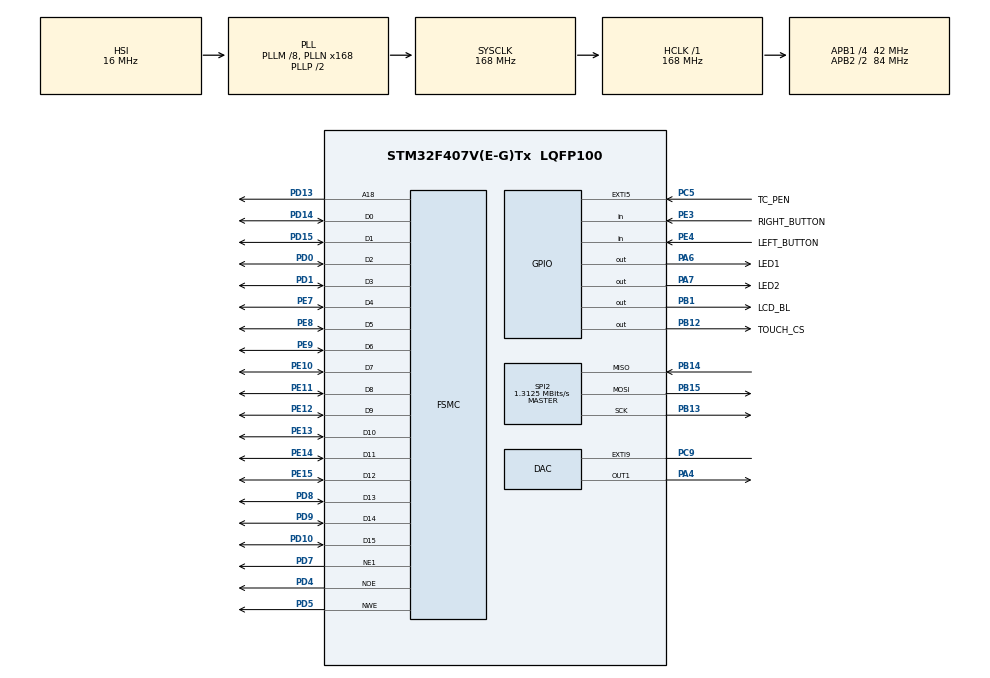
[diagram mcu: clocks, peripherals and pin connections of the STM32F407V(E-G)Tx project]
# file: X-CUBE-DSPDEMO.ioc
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ADC1.Channel-0\#ChannelRegularConversion=ADC_CHANNEL_4
ADC1.DMAContinuousRequests=ENABLE
ADC1.ExternalTrigConv=ADC_EXTERNALTRIGCONV_T2_TRGO
ADC1.ExternalTrigConvEdge=ADC_EXTERNALTRIGCONVEDGE_FALLING
ADC1.NbrOfConversion=1
ADC1.NbrOfConversionFlag=1
ADC1.Rank-0\#ChannelRegularConversion=1
ADC1.SamplingTime-0\#ChannelRegularConversion=ADC_SAMPLETIME_56CYCLES
ADC1.master=1
DAC.DAC_Trigger=DAC_TRIGGER_T6_TRGO
Dma.ADC1.0.Direction=DMA_PERIPH_TO_MEMORY
Dma.ADC1.0.FIFOMode=DMA_FIFOMODE_DISABLE
Dma.ADC1.0.Instance=DMA2_Stream0
Dma.ADC1.0.MemDataAlignment=DMA_MDATAALIGN_HALFWORD
Dma.ADC1.0.MemInc=DMA_MINC_ENABLE
Dma.ADC1.0.Mode=DMA_CIRCULAR
Dma.ADC1.0.PeriphDataAlignment=DMA_PDATAALIGN_HALFWORD
Dma.ADC1.0.PeriphInc=DMA_PINC_DISABLE
Dma.ADC1.0.Priority=DMA_PRIORITY_VERY_HIGH
Dma.DAC1.1.Direction=DMA_MEMORY_TO_PERIPH
Dma.DAC1.1.FIFOMode=DMA_FIFOMODE_DISABLE
Dma.DAC1.1.Instance=DMA1_Stream5
Dma.DAC1.1.MemDataAlignment=DMA_MDATAALIGN_HALFWORD
Dma.DAC1.1.MemInc=DMA_MINC_ENABLE
Dma.DAC1.1.Mode=DMA_CIRCULAR
Dma.DAC1.1.PeriphDataAlignment=DMA_PDATAALIGN_HALFWORD
Dma.DAC1.1.PeriphInc=DMA_PINC_DISABLE
Dma.DAC1.1.Priority=DMA_PRIORITY_VERY_HIGH
Dma.Request0=ADC1
Dma.Request1=DAC1
FSMC.AddressSetupTime1=6
FSMC.BusTurnAroundDuration1=0
FSMC.DataSetupTime1=6
Mcu.Family=STM32F4
Mcu.Name=STM32F407V(E-G)Tx
Mcu.Package=LQFP100
NVIC.DMA1_Stream5_IRQn=true\:0\:0\:false\:false\:true\:false\:true\:true
NVIC.DMA2_Stream0_IRQn=true\:0\:0\:false\:false\:true\:false\:true\:true
NVIC.PriorityGroup=NVIC_PRIORITYGROUP_4
PA13.Mode=Serial_Wire
PA13.Signal=SYS_JTMS-SWDIO
PA14.Mode=Serial_Wire
PA14.Signal=SYS_JTCK-SWCLK
PA4.Signal=SharedAnalog_PA4
PA6.GPIO_Label=LED1
PA6.GPIO_Speed=GPIO_SPEED_FREQ_LOW
PA6.PinState=GPIO_PIN_SET
PA6.Signal=GPIO_Output
PA7.GPIO_Label=LED2
PA7.PinState=GPIO_PIN_SET
PA7.Signal=GPIO_Output
PB1.GPIO_Label=LCD_BL
PB1.Signal=GPIO_Output
PB12.GPIO_Label=TOUCH_CS
PB12.PinState=GPIO_PIN_SET
PB12.Signal=GPIO_Output
PB13.Mode=Full_Duplex_Master
PB13.Signal=SPI2_SCK
PB14.Mode=Full_Duplex_Master
PB14.Signal=SPI2_MISO
PB15.Mode=Full_Duplex_Master
PB15.Signal=SPI2_MOSI
PC14-OSC32_IN.Mode=LSE-External-Oscillator
PC14-OSC32_IN.Signal=RCC_OSC32_IN
PC15-OSC32_OUT.Mode=LSE-External-Oscillator
PC15-OSC32_OUT.Signal=RCC_OSC32_OUT
PC5.GPIO_Label=TC_PEN
PC5.Signal=GPXTI5
PC9.Signal=GPXTI9
PD0.Mode=16b-d1
PD0.Signal=FSMC_D2
PD1.Mode=16b-d1
PD1.Signal=FSMC_D3
PD10.Mode=16b-d1
PD10.Signal=FSMC_D15
PD13.Mode=A18_1
PD13.Signal=FSMC_A18
PD14.Mode=16b-d1
PD14.Signal=FSMC_D0
PD15.Mode=16b-d1
PD15.Signal=FSMC_D1
PD4.Mode=Lcd1
PD4.Signal=FSMC_NOE
PD5.Mode=Lcd1
PD5.Signal=FSMC_NWE
PD7.Mode=NorPsramChipSelect1_1
PD7.Signal=FSMC_NE1
PD8.Mode=16b-d1
PD8.Signal=FSMC_D13
PD9.Mode=16b-d1
PD9.Signal=FSMC_D14
PE10.Mode=16b-d1
PE10.Signal=FSMC_D7
PE11.Mode=16b-d1
PE11.Signal=FSMC_D8
PE12.Mode=16b-d1
PE12.Signal=FSMC_D9
PE13.Mode=16b-d1
PE13.Signal=FSMC_D10
PE14.Mode=16b-d1
PE14.Signal=FSMC_D11
PE15.Mode=16b-d1
PE15.Signal=FSMC_D12
PE3.GPIO_Label=RIGHT_BUTTON
PE3.GPIO_PuPd=GPIO_PULLUP
PE3.Signal=GPIO_Input
PE4.GPIO_Label=LEFT_BUTTON
PE4.GPIO_PuPd=GPIO_PULLUP
PE4.Signal=GPIO_Input
PE7.Mode=16b-d1
PE7.Signal=FSMC_D4
PE8.Mode=16b-d1
PE8.Signal=FSMC_D5
PE9.Mode=16b-d1
PE9.Signal=FSMC_D6
PH0-OSC_IN.Mode=HSE-External-Oscillator
PH0-OSC_IN.Signal=RCC_OSC_IN
PH1-OSC_OUT.Mode=HSE-External-Oscillator
PH1-OSC_OUT.Signal=RCC_OSC_OUT
ProjectManager.HeapSize=0x200
ProjectManager.StackSize=0x400
ProjectManager.TargetToolchain=Makefile
RCC.48MHZClocksFreq_Value=48000000
RCC.AHBFreq_Value=168000000
RCC.APB1CLKDivider=RCC_HCLK_DIV4
RCC.APB1Freq_Value=42000000
RCC.APB1TimFreq_Value=84000000
RCC.APB2CLKDivider=RCC_HCLK_DIV2
RCC.APB2Freq_Value=84000000
RCC.APB2TimFreq_Value=168000000
RCC.CortexFreq_Value=168000000
RCC.HCLKFreq_Value=168000000
RCC.HSE_VALUE=8000000
RCC.HSI_VALUE=16000000
RCC.PLLM=8
RCC.PLLN=168
RCC.PLLQ=7
RCC.RCC_RTC_Clock_Source=RCC_RTCCLKSOURCE_LSE
RCC.RCC_RTC_Clock_SourceVirtual=RCC_RTCCLKSOURCE_LSE
RCC.SYSCLKFreq_VALUE=168000000
RCC.SYSCLKSource=RCC_SYSCLKSOURCE_PLLCLK
RCC.VCOOutputFreq_Value=336000000
SH.SharedAnalog_PA4.0=DAC_OUT1,DAC_OUT1
SH.SharedAnalog_PA4.1=ADC1_IN4,IN4
SPI2.BaudRatePrescaler=SPI_BAUDRATEPRESCALER_32
SPI2.CalculateBaudRate=1.3125 MBits/s
SPI2.Direction=SPI_DIRECTION_2LINES
SPI2.Mode=SPI_MODE_MASTER
SPI2.VirtualType=VM_MASTER
TIM2.Channel-Output\ Compare2\ No\ Output=TIM_CHANNEL_2
TIM2.Period=1000 - 1
TIM2.Prescaler=0
TIM2.TIM_MasterOutputTrigger=TIM_TRGO_UPDATE
TIM6.Period=DAC_period
TIM6.TIM_MasterOutputTrigger=TIM_TRGO_UPDATE
VP_CRC_VS_CRC.Mode=CRC_Activate
VP_RNG_VS_RNG.Mode=RNG_Activate
VP_RTC_VS_RTC_Activate.Mode=RTC_Enabled
VP_TIM2_VS_ClockSourceINT.Mode=Internal
VP_TIM2_VS_no_output2.Mode=Output Compare2 No Output
VP_TIM6_VS_ClockSourceINT.Mode=Enable_Timer
board=custom

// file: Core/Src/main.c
/* USER CODE BEGIN Header */
/**
  ******************************************************************************
  * @file           : main.c
  * @brief          : Main program body
  ******************************************************************************
  * @attention
  *
  * Copyright (c) 2022 STMicroelectronics.
  * All rights reserved.
  *
  * This software is licensed under terms that can be found in the LICENSE file
  * in the root directory of this software component.
  * If no LICENSE file comes with this software, it is provided AS-IS.
  *
  ******************************************************************************
  */
/* USER CODE END Header */
#include "main.h"

/* USER CODE BEGIN Includes */
#include "ili9341.h"
#include "GUI.h"
#include "DIALOG.h"
#include "WM.h"
#include "calibration.h"
#include "global.h"
#include "touch.h"
#include "stdio.h"
/* USER CODE END Includes */

ADC_HandleTypeDef hadc1;
DMA_HandleTypeDef hdma_adc1;

CRC_HandleTypeDef hcrc;

DAC_HandleTypeDef hdac;
DMA_HandleTypeDef hdma_dac1;

RNG_HandleTypeDef hrng;

RTC_HandleTypeDef hrtc;

SPI_HandleTypeDef hspi2;

TIM_HandleTypeDef htim2;
TIM_HandleTypeDef htim6;

SRAM_HandleTypeDef hsram1;

/* USER CODE BEGIN PV */

static uint16_t DAC_period;

/* USER CODE END PV */

void SystemClock_Config(void);
static void MX_GPIO_Init(void);
static void MX_DMA_Init(void);
static void MX_FSMC_Init(void);
static void MX_SPI2_Init(void);
static void MX_RNG_Init(void);
static void MX_RTC_Init(void);
static void MX_CRC_Init(void);
static void MX_ADC1_Init(void);
static void MX_DAC_Init(void);
static void MX_TIM2_Init(void);
static void MX_TIM6_Init(void);

/* USER CODE BEGIN 0 */

/**
 * Update GUI with touchscreen events
 */
static void BSP_Touch_Update(void)
{
	GUI_PID_STATE TS_State;
	static TS_StateTypeDef prev_state;
	TS_StateTypeDef  ts;
	uint16_t xDiff, yDiff;

	BSP_TS_GetState(&ts);
	TS_State.Pressed = ts.TouchDetected;

	xDiff = (prev_state.X > ts.X) ? (prev_state.X - ts.X) : (ts.X - prev_state.X);
	yDiff = (prev_state.Y > ts.Y) ? (prev_state.Y - ts.Y) : (ts.Y - prev_state.Y);

	if ((prev_state.TouchDetected != ts.TouchDetected ) ||
		(xDiff > 3 ) ||
		(yDiff > 3)) {
		prev_state.TouchDetected = ts.TouchDetected;

		if ((ts.X != 0) &&  (ts.Y != 0))
		{
			prev_state.X = ts.X;
			prev_state.Y = ts.Y;
		}

		if (CALIBRATION_IsDone())
		{
			TS_State.Layer = 0;
			TS_State.x = CALIBRATION_GetX(prev_state.X);
			TS_State.y = CALIBRATION_GetY(prev_state.Y);
		}
		else
		{
			TS_State.Layer = 0;
			TS_State.x = prev_state.X;
			TS_State.y = prev_state.Y;
		}

		GUI_TOUCH_StoreStateEx(&TS_State);
	}
}

/**
 * Should be called periodically
 */
void BSP_Background(void)
{
	static uint32_t ts;
	uint32_t now;

	now = HAL_GetTick();

	/* Not frequent than 100Hz */
	if (now - ts < 10)
		return;

	ts = now;
    BSP_Touch_Update();
}

/**
  * @brief RTC MSP De-Initialization
  *        This function frees the hardware resources used in This application:
  *          - Disable the Peripheral's clock
  * @param hrtc: RTC handle pointer
  * @retval None
  */
void BACKUP_SaveParameter(uint32_t address, uint32_t data)
{
  HAL_RTCEx_BKUPWrite(&hrtc, address, data);
}

/**
  * @brief RTC MSP De-Initialization
  *        This function frees the hardware resources used in This application:
  *          - Disable the Peripheral's clock
  * @param hrtc: RTC handle pointer
  * @retval None
  */
uint32_t BACKUP_RestoreParameter(uint32_t address)
{
  return HAL_RTCEx_BKUPRead(&hrtc, address);
}

static void DAC_set_freq(uint32_t freq)
{
	/* TODO: get APB1 Timer clocks properly! */
	/* Sine has 2 periods, so divide size of array on 2 */
	DAC_period = SystemCoreClock / 2 / freq / (ARRAY_SIZE(sine_12bit) / 2) - 1;
}

void DAC_set_freq_and_restart(uint32_t freq)
{
	DAC_set_freq(freq);
	MX_TIM6_Init();
}

void ADC_set_size_and_restart(size_t nb_samples)
{
	adc_samples = nb_samples;

	HAL_ADC_Stop_DMA(&hadc1);
	if (HAL_ADC_Start_DMA(&hadc1, (uint32_t *)&adc_buf,
						  adc_samples) != HAL_OK) {
		/* Start Conversation Error */
		Error_Handler();
	}
}

static void ADC_half_conversion_cb(ADC_HandleTypeDef* hadc)
{
	/* TODO */
}

static void ADC_complete_conversion_cb(ADC_HandleTypeDef* hadc)
{
	/* TODO */
}

/* USER CODE END 0 */

int main(void)
{
  /* USER CODE BEGIN 1 */
//	TouchScreen_Coordinates ts_Coordinates;
  /* USER CODE END 1 */

  /* MCU Configuration--------------------------------------------------------*/

  /* Reset of all peripherals, Initializes the Flash interface and the Systick. */
  HAL_Init();

  /* Configure the system clock */
  SystemClock_Config();

  /* USER CODE BEGIN SysInit */

  /* Should be invoked before the MX_DAC_Init() call */
  DAC_set_freq(DAC_FREQ);

  /* USER CODE END SysInit */

  /* Initialize all configured peripherals */
  MX_GPIO_Init();
  MX_DMA_Init();
  MX_FSMC_Init();
  MX_SPI2_Init();
  MX_RNG_Init();
  MX_RTC_Init();
  MX_CRC_Init();
  MX_ADC1_Init();
  MX_DAC_Init();
  MX_TIM2_Init();
  MX_TIM6_Init();
  /* USER CODE BEGIN 2 */

  enable_cycles_counter();
  ili9341_Init();
  GUI_Init();
  CALIBRATION_Check();

  /*
   * Start DAC, signal generation
   */
  if (HAL_DAC_Start_DMA(&hdac, DAC_CHANNEL_1, (uint32_t *)sine_12bit,
						SINE_SAMPLES, DAC_ALIGN_12B_R) != HAL_OK) {
	  /* Start DMA Error */
	  Error_Handler();
  }
  HAL_TIM_Base_Start(&htim6);

  /*
   * Start ADC, signal receiving
   */
  HAL_ADC_RegisterCallback(&hadc1, HAL_ADC_CONVERSION_HALF_CB_ID,
						   ADC_half_conversion_cb);
  HAL_ADC_RegisterCallback(&hadc1, HAL_ADC_CONVERSION_COMPLETE_CB_ID,
						   ADC_complete_conversion_cb);
  if (HAL_ADC_Start_DMA(&hadc1, (uint32_t *)&adc_buf,
						adc_samples) != HAL_OK) {
    /* Start Conversation Error */
    Error_Handler();
  }
  HAL_TIM_Base_Start(&htim2);

  /* Never returns */
  MainTask();

  /* USER CODE END 2 */

  /* Infinite loop */
  while (1) {

  }
}

void SystemClock_Config(void)
{
  RCC_OscInitTypeDef RCC_OscInitStruct = {0};
  RCC_ClkInitTypeDef RCC_ClkInitStruct = {0};

  /** Configure the main internal regulator output voltage
  */
  __HAL_RCC_PWR_CLK_ENABLE();
  __HAL_PWR_VOLTAGESCALING_CONFIG(PWR_REGULATOR_VOLTAGE_SCALE1);

  /** Initializes the RCC Oscillators according to the specified parameters
  * in the RCC_OscInitTypeDef structure.
  */
  RCC_OscInitStruct.OscillatorType = RCC_OSCILLATORTYPE_HSI|RCC_OSCILLATORTYPE_LSE;
  RCC_OscInitStruct.LSEState = RCC_LSE_ON;
  RCC_OscInitStruct.HSIState = RCC_HSI_ON;
  RCC_OscInitStruct.HSICalibrationValue = RCC_HSICALIBRATION_DEFAULT;
  RCC_OscInitStruct.PLL.PLLState = RCC_PLL_ON;
  RCC_OscInitStruct.PLL.PLLSource = RCC_PLLSOURCE_HSI;
  RCC_OscInitStruct.PLL.PLLM = 8;
  RCC_OscInitStruct.PLL.PLLN = 168;
  RCC_OscInitStruct.PLL.PLLP = RCC_PLLP_DIV2;
  RCC_OscInitStruct.PLL.PLLQ = 7;
  if (HAL_RCC_OscConfig(&RCC_OscInitStruct) != HAL_OK)
  {
    Error_Handler();
  }

  /** Initializes the CPU, AHB and APB buses clocks
  */
  RCC_ClkInitStruct.ClockType = RCC_CLOCKTYPE_HCLK|RCC_CLOCKTYPE_SYSCLK
                              |RCC_CLOCKTYPE_PCLK1|RCC_CLOCKTYPE_PCLK2;
  RCC_ClkInitStruct.SYSCLKSource = RCC_SYSCLKSOURCE_PLLCLK;
  RCC_ClkInitStruct.AHBCLKDivider = RCC_SYSCLK_DIV1;
  RCC_ClkInitStruct.APB1CLKDivider = RCC_HCLK_DIV4;
  RCC_ClkInitStruct.APB2CLKDivider = RCC_HCLK_DIV2;

  if (HAL_RCC_ClockConfig(&RCC_ClkInitStruct, FLASH_LATENCY_5) != HAL_OK)
  {
    Error_Handler();
  }
}

static void MX_ADC1_Init(void)
{

  ADC_ChannelConfTypeDef sConfig = {0};

  /** Configure the global features of the ADC (Clock, Resolution, Data Alignment and number of conversion)
  */
  hadc1.Instance = ADC1;
  hadc1.Init.ClockPrescaler = ADC_CLOCK_SYNC_PCLK_DIV4;
  hadc1.Init.Resolution = ADC_RESOLUTION_12B;
  hadc1.Init.ScanConvMode = DISABLE;
  hadc1.Init.ContinuousConvMode = DISABLE;
  hadc1.Init.DiscontinuousConvMode = DISABLE;
  hadc1.Init.ExternalTrigConvEdge = ADC_EXTERNALTRIGCONVEDGE_FALLING;
  hadc1.Init.ExternalTrigConv = ADC_EXTERNALTRIGCONV_T2_TRGO;
  hadc1.Init.DataAlign = ADC_DATAALIGN_RIGHT;
  hadc1.Init.NbrOfConversion = 1;
  hadc1.Init.DMAContinuousRequests = ENABLE;
  hadc1.Init.EOCSelection = ADC_EOC_SINGLE_CONV;
  if (HAL_ADC_Init(&hadc1) != HAL_OK)
  {
    Error_Handler();
  }

  /** Configure for the selected ADC regular channel its corresponding rank in the sequencer and its sample time.
  */
  sConfig.Channel = ADC_CHANNEL_4;
  sConfig.Rank = 1;
  sConfig.SamplingTime = ADC_SAMPLETIME_56CYCLES;
  if (HAL_ADC_ConfigChannel(&hadc1, &sConfig) != HAL_OK)
  {
    Error_Handler();
  }

}

static void MX_CRC_Init(void)
{

  hcrc.Instance = CRC;
  if (HAL_CRC_Init(&hcrc) != HAL_OK)
  {
    Error_Handler();
  }

}

static void MX_DAC_Init(void)
{

  DAC_ChannelConfTypeDef sConfig = {0};

  /** DAC Initialization
  */
  hdac.Instance = DAC;
  if (HAL_DAC_Init(&hdac) != HAL_OK)
  {
    Error_Handler();
  }

  /** DAC channel OUT1 config
  */
  sConfig.DAC_Trigger = DAC_TRIGGER_T6_TRGO;
  sConfig.DAC_OutputBuffer = DAC_OUTPUTBUFFER_ENABLE;
  if (HAL_DAC_ConfigChannel(&hdac, &sConfig, DAC_CHANNEL_1) != HAL_OK)
  {
    Error_Handler();
  }

}

static void MX_RNG_Init(void)
{

  hrng.Instance = RNG;
  if (HAL_RNG_Init(&hrng) != HAL_OK)
  {
    Error_Handler();
  }

}

static void MX_RTC_Init(void)
{

  /** Initialize RTC Only
  */
  hrtc.Instance = RTC;
  hrtc.Init.HourFormat = RTC_HOURFORMAT_24;
  hrtc.Init.AsynchPrediv = 127;
  hrtc.Init.SynchPrediv = 255;
  hrtc.Init.OutPut = RTC_OUTPUT_DISABLE;
  hrtc.Init.OutPutPolarity = RTC_OUTPUT_POLARITY_HIGH;
  hrtc.Init.OutPutType = RTC_OUTPUT_TYPE_OPENDRAIN;
  if (HAL_RTC_Init(&hrtc) != HAL_OK)
  {
    Error_Handler();
  }

}

static void MX_SPI2_Init(void)
{

  /* SPI2 parameter configuration*/
  hspi2.Instance = SPI2;
  hspi2.Init.Mode = SPI_MODE_MASTER;
  hspi2.Init.Direction = SPI_DIRECTION_2LINES;
  hspi2.Init.DataSize = SPI_DATASIZE_8BIT;
  hspi2.Init.CLKPolarity = SPI_POLARITY_LOW;
  hspi2.Init.CLKPhase = SPI_PHASE_1EDGE;
  hspi2.Init.NSS = SPI_NSS_SOFT;
  hspi2.Init.BaudRatePrescaler = SPI_BAUDRATEPRESCALER_32;
  hspi2.Init.FirstBit = SPI_FIRSTBIT_MSB;
  hspi2.Init.TIMode = SPI_TIMODE_DISABLE;
  hspi2.Init.CRCCalculation = SPI_CRCCALCULATION_DISABLE;
  hspi2.Init.CRCPolynomial = 10;
  if (HAL_SPI_Init(&hspi2) != HAL_OK)
  {
    Error_Handler();
  }

}

static void MX_TIM2_Init(void)
{

  TIM_ClockConfigTypeDef sClockSourceConfig = {0};
  TIM_MasterConfigTypeDef sMasterConfig = {0};
  TIM_OC_InitTypeDef sConfigOC = {0};

  htim2.Instance = TIM2;
  htim2.Init.Prescaler = 0;
  htim2.Init.CounterMode = TIM_COUNTERMODE_UP;
  htim2.Init.Period = 1000 - 1;
  htim2.Init.ClockDivision = TIM_CLOCKDIVISION_DIV1;
  htim2.Init.AutoReloadPreload = TIM_AUTORELOAD_PRELOAD_DISABLE;
  if (HAL_TIM_Base_Init(&htim2) != HAL_OK)
  {
    Error_Handler();
  }
  sClockSourceConfig.ClockSource = TIM_CLOCKSOURCE_INTERNAL;
  if (HAL_TIM_ConfigClockSource(&htim2, &sClockSourceConfig) != HAL_OK)
  {
    Error_Handler();
  }
  if (HAL_TIM_OC_Init(&htim2) != HAL_OK)
  {
    Error_Handler();
  }
  sMasterConfig.MasterOutputTrigger = TIM_TRGO_UPDATE;
  sMasterConfig.MasterSlaveMode = TIM_MASTERSLAVEMODE_DISABLE;
  if (HAL_TIMEx_MasterConfigSynchronization(&htim2, &sMasterConfig) != HAL_OK)
  {
    Error_Handler();
  }
  sConfigOC.OCMode = TIM_OCMODE_TIMING;
  sConfigOC.Pulse = 0;
  sConfigOC.OCPolarity = TIM_OCPOLARITY_HIGH;
  sConfigOC.OCFastMode = TIM_OCFAST_DISABLE;
  if (HAL_TIM_OC_ConfigChannel(&htim2, &sConfigOC, TIM_CHANNEL_2) != HAL_OK)
  {
    Error_Handler();
  }

}

static void MX_TIM6_Init(void)
{

  TIM_MasterConfigTypeDef sMasterConfig = {0};

  htim6.Instance = TIM6;
  htim6.Init.Prescaler = 0;
  htim6.Init.CounterMode = TIM_COUNTERMODE_UP;
  htim6.Init.Period = DAC_period;
  htim6.Init.AutoReloadPreload = TIM_AUTORELOAD_PRELOAD_DISABLE;
  if (HAL_TIM_Base_Init(&htim6) != HAL_OK)
  {
    Error_Handler();
  }
  sMasterConfig.MasterOutputTrigger = TIM_TRGO_UPDATE;
  sMasterConfig.MasterSlaveMode = TIM_MASTERSLAVEMODE_DISABLE;
  if (HAL_TIMEx_MasterConfigSynchronization(&htim6, &sMasterConfig) != HAL_OK)
  {
    Error_Handler();
  }

}

static void MX_DMA_Init(void)
{

  /* DMA controller clock enable */
  __HAL_RCC_DMA2_CLK_ENABLE();
  __HAL_RCC_DMA1_CLK_ENABLE();

  /* DMA interrupt init */
  /* DMA1_Stream5_IRQn interrupt configuration */
  HAL_NVIC_SetPriority(DMA1_Stream5_IRQn, 0, 0);
  HAL_NVIC_EnableIRQ(DMA1_Stream5_IRQn);
  /* DMA2_Stream0_IRQn interrupt configuration */
  HAL_NVIC_SetPriority(DMA2_Stream0_IRQn, 0, 0);
  HAL_NVIC_EnableIRQ(DMA2_Stream0_IRQn);

}

static void MX_GPIO_Init(void)
{
  GPIO_InitTypeDef GPIO_InitStruct = {0};

  /* GPIO Ports Clock Enable */
  __HAL_RCC_GPIOE_CLK_ENABLE();
  __HAL_RCC_GPIOC_CLK_ENABLE();
  __HAL_RCC_GPIOH_CLK_ENABLE();
  __HAL_RCC_GPIOA_CLK_ENABLE();
  __HAL_RCC_GPIOB_CLK_ENABLE();
  __HAL_RCC_GPIOD_CLK_ENABLE();

  /*Configure GPIO pin Output Level */
  HAL_GPIO_WritePin(GPIOA, LED1_Pin|LED2_Pin, GPIO_PIN_SET);

  /*Configure GPIO pin Output Level */
  HAL_GPIO_WritePin(LCD_BL_GPIO_Port, LCD_BL_Pin, GPIO_PIN_RESET);

  /*Configure GPIO pin Output Level */
  HAL_GPIO_WritePin(TOUCH_CS_GPIO_Port, TOUCH_CS_Pin, GPIO_PIN_SET);

  /*Configure GPIO pins : RIGHT_BUTTON_Pin LEFT_BUTTON_Pin */
  GPIO_InitStruct.Pin = RIGHT_BUTTON_Pin|LEFT_BUTTON_Pin;
  GPIO_InitStruct.Mode = GPIO_MODE_INPUT;
  GPIO_InitStruct.Pull = GPIO_PULLUP;
  HAL_GPIO_Init(GPIOE, &GPIO_InitStruct);

  /*Configure GPIO pins : LED1_Pin LED2_Pin */
  GPIO_InitStruct.Pin = LED1_Pin|LED2_Pin;
  GPIO_InitStruct.Mode = GPIO_MODE_OUTPUT_PP;
  GPIO_InitStruct.Pull = GPIO_NOPULL;
  GPIO_InitStruct.Speed = GPIO_SPEED_FREQ_LOW;
  HAL_GPIO_Init(GPIOA, &GPIO_InitStruct);

  /*Configure GPIO pins : TC_PEN_Pin PC9 */
  GPIO_InitStruct.Pin = TC_PEN_Pin|GPIO_PIN_9;
  GPIO_InitStruct.Mode = GPIO_MODE_IT_RISING;
  GPIO_InitStruct.Pull = GPIO_NOPULL;
  HAL_GPIO_Init(GPIOC, &GPIO_InitStruct);

  /*Configure GPIO pins : LCD_BL_Pin TOUCH_CS_Pin */
  GPIO_InitStruct.Pin = LCD_BL_Pin|TOUCH_CS_Pin;
  GPIO_InitStruct.Mode = GPIO_MODE_OUTPUT_PP;
  GPIO_InitStruct.Pull = GPIO_NOPULL;
  GPIO_InitStruct.Speed = GPIO_SPEED_FREQ_LOW;
  HAL_GPIO_Init(GPIOB, &GPIO_InitStruct);

}

/* FSMC initialization function */
static void MX_FSMC_Init(void)
{

  FSMC_NORSRAM_TimingTypeDef Timing = {0};

  /** Perform the SRAM1 memory initialization sequence
  */
  hsram1.Instance = FSMC_NORSRAM_DEVICE;
  hsram1.Extended = FSMC_NORSRAM_EXTENDED_DEVICE;
  /* hsram1.Init */
  hsram1.Init.NSBank = FSMC_NORSRAM_BANK1;
  hsram1.Init.DataAddressMux = FSMC_DATA_ADDRESS_MUX_DISABLE;
  hsram1.Init.MemoryType = FSMC_MEMORY_TYPE_SRAM;
  hsram1.Init.MemoryDataWidth = FSMC_NORSRAM_MEM_BUS_WIDTH_16;
  hsram1.Init.BurstAccessMode = FSMC_BURST_ACCESS_MODE_DISABLE;
  hsram1.Init.WaitSignalPolarity = FSMC_WAIT_SIGNAL_POLARITY_LOW;
  hsram1.Init.WrapMode = FSMC_WRAP_MODE_DISABLE;
  hsram1.Init.WaitSignalActive = FSMC_WAIT_TIMING_BEFORE_WS;
  hsram1.Init.WriteOperation = FSMC_WRITE_OPERATION_ENABLE;
  hsram1.Init.WaitSignal = FSMC_WAIT_SIGNAL_DISABLE;
  hsram1.Init.ExtendedMode = FSMC_EXTENDED_MODE_DISABLE;
  hsram1.Init.AsynchronousWait = FSMC_ASYNCHRONOUS_WAIT_DISABLE;
  hsram1.Init.WriteBurst = FSMC_WRITE_BURST_DISABLE;
  hsram1.Init.PageSize = FSMC_PAGE_SIZE_NONE;
  /* Timing */
  Timing.AddressSetupTime = 6;
  Timing.AddressHoldTime = 15;
  Timing.DataSetupTime = 6;
  Timing.BusTurnAroundDuration = 0;
  Timing.CLKDivision = 16;
  Timing.DataLatency = 17;
  Timing.AccessMode = FSMC_ACCESS_MODE_A;
  /* ExtTiming */

  if (HAL_SRAM_Init(&hsram1, &Timing, NULL) != HAL_OK)
  {
    Error_Handler( );
  }

}

void Error_Handler(void)
{
  __disable_irq();
  while (1)
  {
  }
}
